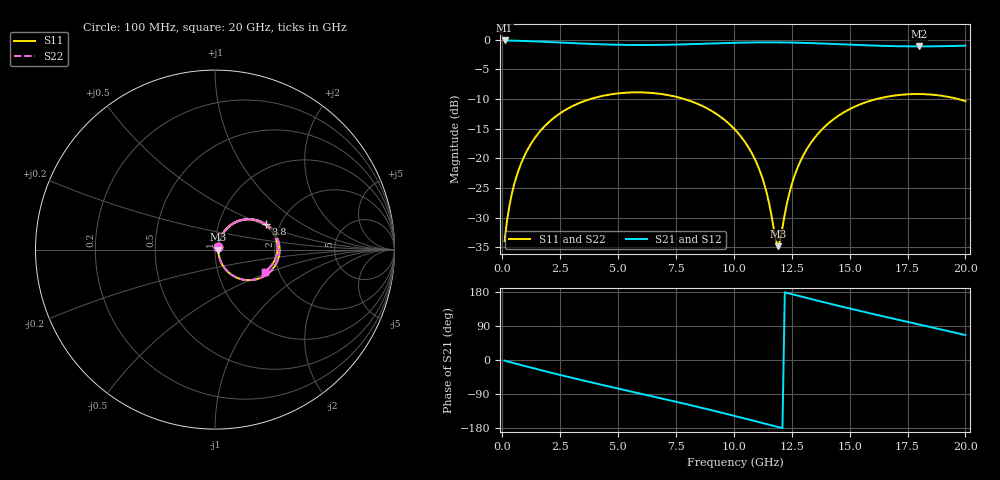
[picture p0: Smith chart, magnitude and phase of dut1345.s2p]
! Touchstone file exported from HFSS 2026.1.0
!  File:  C:/ffzhzh/LocalFiles/Ansys_Project_Files/temp_train_TSV_RDL_1345_1783339718_38704.aedt
!  Generated:  08:21:17 PM Jul  6, 2026
!  Design:  TSV_RDL
!  Project:  temp_train_TSV_RDL_1345_1783339718_38704
! Variables:
!  h_bsmrdl = 3.74um
!  h_ox = 20um
!  h_rdl = 5um
!  h_sub = 88.39um
!  h_tmrdl = 5.08um
!  h_tsv = 88.39um
!  h_via = 3um
!  l_bsmrdl = 160.73um
!  l_sub = 4989.75um
!  l_tmrdl = 995.39um
!  m_sub = 200um
!  pitch = 41.05um
!  r_tsv = 8.74um
!  s_tmrdl = 10um
!  w_bsmrdl = 16.92um
!  w_sub = 500um
!  w_tmrdl = 25.08um
!  x_tsv_center1 = 1007.93um
!  x_tsv_center2 = 1185.58um
!  x_tsv_center3 = 2206.05um
!  x_tsv_center4 = 2383.7um
!  x_tsv_center5 = 3404.17um
!  x_tsv_center6 = 3581.82um
# GHz S MA R 50.000000
! Terminal data exported
! Port[1] = TM_RDL1_1_T1
! Port[2] = TM_RDL5_1_T1
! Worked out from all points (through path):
!   200 points, 100 MHz to 20 GHz, reference 50 ohm
!   highest |S21| = -0.14 dB at 100 MHz (marker M1); lowest = -1.1 dB at 18 GHz (marker M2)
!   group delay of S21, straight-line fit = 40.9 ps
!   lowest |S11| = -34.8 dB at 11.9 GHz (marker M3), VSWR 1.04, Z = 51.9 - j0.0702 ohm
!   |S11| at or under -10 dB: start of sweep to 3.811 GHz; 7.854 GHz to 16.17 GHz (8.317 GHz wide, 69.2 % of centre); 19.68 GHz to end of sweep
!   |S22| runs from -34.7 to -8.9 dB; largest |S21 - S12| = 1.7e-14
!   S11 on the Smith chart (normalised r, x): 100 MHz: 1.03, +0.03; 3.8 GHz: 1.68, +0.53; 20 GHz: 1.69, -0.46
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0.1  0.02021 36.9  0.9841 -1.7  0.9841 -1.7  0.02021 36.9
! Gamma 0 0 0 0
! Port Impedance 50 0 50 0
0.3  0.03915 57.6  0.9815 -5.0  0.9815 -5.0  0.03915 57.6
0.5  0.05901 62.9  0.9794 -8.2  0.9794 -8.2  0.05901 62.9
1.1  0.1191 61.9  0.9718 -17.9  0.9718 -17.9  0.1191 61.9
2.1  0.2092 49.9  0.9535 -33.5  0.9535 -33.5  0.2092 49.9
3.5  0.3016 30.8  0.9251 -54.2  0.9251 -54.2  0.3016 30.8
3.8  0.3158 26.7  0.9199 -58.5  0.9199 -58.5  0.3158 26.7
5.3  0.3569 6.7  0.9027 -79.5  0.9027 -79.5  0.3569 6.8
6.8  0.3498 -13.0  0.903 -100.3  0.903 -100.3  0.3497 -13.0
8.5  0.2842 -35.6  0.9205 -124.5  0.9205 -124.5  0.2842 -35.5
10.1  0.1703 -56.3  0.9411 -148.6  0.9411 -148.6  0.1703 -56.3
10.7  0.1175 -62.6  0.9462 -157.9  0.9462 -157.9  0.1175 -62.4
11.2  0.07129 -64.3  0.9485 -165.7  0.9485 -165.7  0.07128 -64.1
11.5  0.04383 -59.1  0.9488 -170.4  0.9488 -170.4  0.04386 -58.8
11.9  0.01822 -2.1  0.9481 -176.7  0.9481 -176.7  0.0184 -1.9
12  0.02031 25.1  0.9477 -178.3  0.9477 -178.3  0.0205 25.0
12.6  0.06945 64.5  0.9434 172.3  0.9434 172.3  0.06955 64.4
13.4  0.1414 60.3  0.9336 159.9  0.9336 159.9  0.1414 60.2
14.8  0.2474 43.2  0.9103 138.8  0.9103 138.8  0.2475 43.2
16.7  0.3326 18.5  0.8834 111.8  0.8834 111.8  0.3327 18.5
18  0.3482 1.7  0.8771 93.8  0.8771 93.8  0.3483 1.8
20  0.3033 -24.0  0.8898 65.8  0.8898 65.8  0.3034 -23.9
